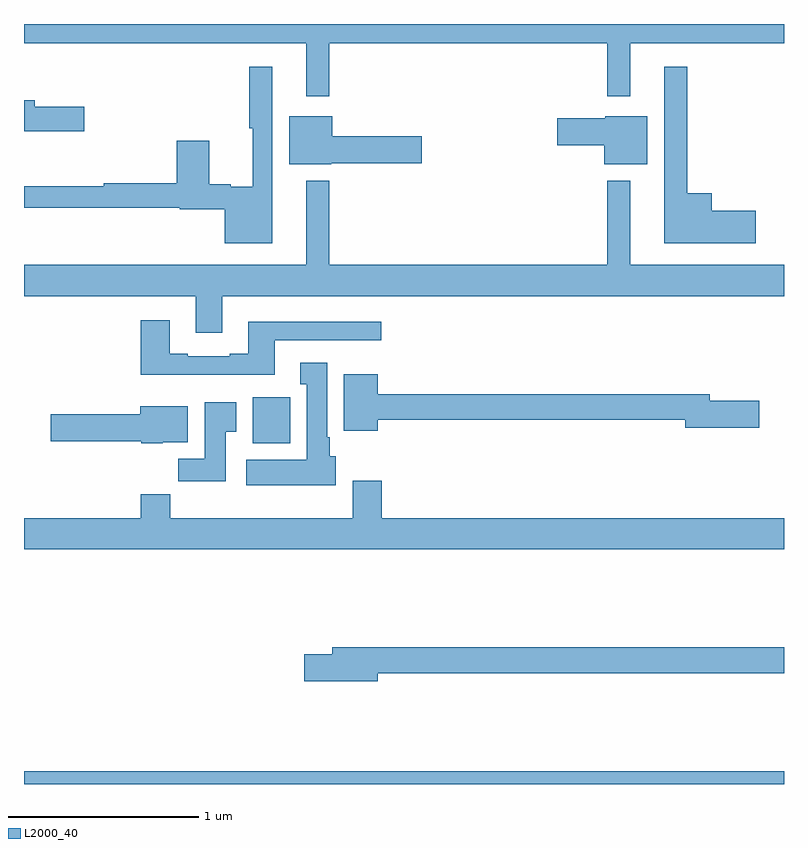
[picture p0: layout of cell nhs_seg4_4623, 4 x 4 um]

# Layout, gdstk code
import gdstk
lib = gdstk.Library(unit=1e-6, precision=1e-09)
def R(c, l, rs):  # rectangles x0, y0, x1, y1
    for r in rs: c.add(gdstk.rectangle(r[:2], r[2:], *l))
def P(c, l, *ps):  # polygons
    for p in ps: c.add(gdstk.Polygon(p, *l))
L2000_40 = (2000, 40)

nhs_seg4_4623 = lib.new_cell('nhs_seg4_4623')
R(nhs_seg4_4623, L2000_40, [(359,812.9,363,812.968), (360.203,814.694,360.4,814.936)])
P(nhs_seg4_4623, L2000_40, [(360.607,816.8),(362.07,816.8),(362.07,816.519),(362.191,816.519),(362.191,816.8),(363,816.8),(363,816.9),(359,816.9),(359,816.8),(360.485,816.8),(360.485,816.519),(360.607,816.519)],
  [(360.307,816.676),(360.186,816.676),(360.186,816.351),(360.203,816.351),(360.203,816.043),(360.089,816.043),(360.089,816.056),(359.974,816.056),(359.974,816.286),(359.804,816.286),(359.804,816.062),(359.42,816.062),(359.42,816.047),(359,816.047),(359,815.934),(359.82,815.934),(359.82,815.926),(360.056,815.926),(360.056,815.747),(360.307,815.747)],
  [(362.851,815.918),(362.62,815.918),(362.62,816.01),(362.491,816.01),(362.491,816.676),(362.369,816.676),(362.369,815.747),(362.851,815.747)],
  [(359.317,816.465),(359.056,816.465),(359.056,816.499),(359,816.499),(359,816.335),(359.317,816.335)],
  [(360.618,816.167),(361.093,816.167),(361.093,816.309),(360.622,816.309),(360.622,816.415),(360.395,816.415),(360.395,816.161),(360.618,816.161)],
  [(362.281,816.415),(362.058,816.415),(362.058,816.405),(361.806,816.405),(361.806,816.263),(362.054,816.263),(362.054,816.161),(362.281,816.161)],
  [(360.043,815.468),(363,815.468),(363,815.632),(362.191,815.632),(362.191,816.076),(362.07,816.076),(362.07,815.632),(360.607,815.632),(360.607,816.076),(360.485,816.076),(360.485,815.632),(359,815.632),(359,815.468),(359.903,815.468),(359.903,815.274),(360.043,815.274)],
  [(360.319,815.235),(360.88,815.235),(360.88,815.332),(360.179,815.332),(360.179,815.164),(360.083,815.164),(360.083,815.151),(359.863,815.151),(359.863,815.164),(359.767,815.164),(359.767,815.341),(359.615,815.341),(359.615,815.054),(360.319,815.054)],
  [(360.64,814.626),(360.61,814.626),(360.61,814.726),(360.595,814.726),(360.595,815.116),(360.455,815.116),(360.455,815.003),(360.488,815.003),(360.488,814.606),(360.171,814.606),(360.171,814.472),(360.64,814.472)],
  [(360.862,814.816),(362.48,814.816),(362.48,814.774),(362.869,814.774),(362.869,814.916),(362.608,814.916),(362.608,814.952),(360.862,814.952),(360.862,815.056),(360.683,815.056),(360.683,814.76),(360.862,814.76)],
  [(360.061,814.753),(360.118,814.753),(360.118,814.909),(359.951,814.909),(359.951,814.612),(359.812,814.612),(359.812,814.494),(360.061,814.494)],
  [(359.73,814.7),(359.863,814.7),(359.863,814.888),(359.612,814.888),(359.612,814.847),(359.142,814.847),(359.142,814.705),(359.616,814.705),(359.616,814.694),(359.73,814.694)],
  [(363,814.3),(360.884,814.3),(360.884,814.495),(360.731,814.495),(360.731,814.3),(359.771,814.3),(359.771,814.424),(359.615,814.424),(359.615,814.3),(359,814.3),(359,814.136),(363,814.136)],
  [(360.862,813.484),(363,813.484),(363,813.62),(360.623,813.62),(360.623,813.584),(360.474,813.584),(360.474,813.442),(360.862,813.442)])

lib.write_gds('nhs_seg4_4623.gds')
